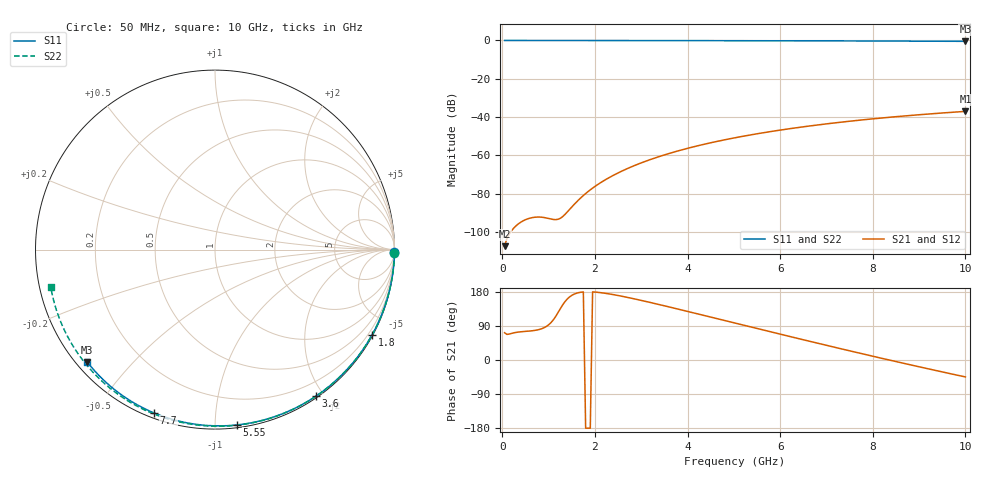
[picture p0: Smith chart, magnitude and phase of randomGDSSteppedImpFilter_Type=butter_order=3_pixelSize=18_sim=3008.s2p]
! freq	dB(S11)	phase(S11)	dB(S12)	phase(S12)
!  dB(S21)	phase(S21)	dB(S22)	phase(S22)
!S-par simulation data
#  GHz  S  DB  R 50
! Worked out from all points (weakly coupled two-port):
!   200 points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, 50 MHz to 10 GHz, reference 50 ohm
!   highest |S21| = -37.06 dB at 10 GHz (marker M1); lowest = -107.5 dB at 50 MHz (marker M2)
!   lowest |S11| = -0.5 dB at 10 GHz (marker M3), VSWR 37.36, Z = 1.53 - j18.8 ohm
!   |S11| at or under -10 dB: nowhere
!   |S22| runs from -0.5 to 0.0 dB; largest |S21 - S12| = 0
!   S11 on the Smith chart (normalised r, x): 50 MHz: open; 1.8 GHz: 0.03, -3.95; 3.6 GHz: 0.02, -1.90; 5.55 GHz: 0.02, -1.13; 7.7 GHz: 0.02, -0.69; 10 GHz: 0.03, -0.38
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0.05  -0.00 -0.8  -107.49 71.9  -107.49 71.9  -0.00 -1.0
0.45  -0.01 -7.2  -94.25 75.0  -94.25 75.0  -0.01 -8.7
0.85  -0.02 -13.6  -92.36 82.5  -92.36 82.5  -0.02 -16.3
1.3  -0.03 -20.6  -92.12 144.7  -92.12 144.7  -0.03 -24.8
1.75  -0.04 -27.6  -81.02 179.7  -81.02 179.7  -0.04 -33.3
1.8  -0.04 -28.4  -79.99 -180.0  -79.99 -180.0  -0.04 -34.2
1.95  -0.04 -30.7  -77.15 179.8  -77.15 179.8  -0.05 -37.0
2.1  -0.04 -33.0  -74.66 178.1  -74.66 178.1  -0.05 -39.7
2.45  -0.05 -38.4  -69.82 171.4  -69.82 171.4  -0.06 -46.1
2.65  -0.05 -41.4  -67.50 166.6  -67.50 166.6  -0.06 -49.7
2.9  -0.06 -45.1  -64.92 160.0  -64.92 160.0  -0.07 -54.2
3.4  -0.07 -52.6  -60.57 146.0  -60.57 146.0  -0.08 -63.0
3.6  -0.07 -55.5  -59.07 140.1  -59.07 140.1  -0.09 -66.4
4.3  -0.09 -65.5  -54.57 119.3  -54.57 119.3  -0.11 -78.3
5.05  -0.12 -76.0  -50.73 96.7  -50.73 96.7  -0.14 -90.6
5.55  -0.14 -82.8  -48.57 81.6  -48.57 81.6  -0.16 -98.6
6.1  -0.16 -90.1  -46.48 65.2  -46.48 65.2  -0.19 -107.2
6.7  -0.19 -97.9  -44.48 47.5  -44.48 47.5  -0.23 -116.5
7.7  -0.25 -110.5  -41.69 18.5  -41.69 18.5  -0.30 -131.6
8.35  -0.30 -118.6  -40.16 0.1  -40.16 0.1  -0.36 -141.5
9.2  -0.38 -129.0  -38.44 -23.4  -38.44 -23.4  -0.45 -154.5
10  -0.47 -138.7  -37.06 -44.7  -37.06 -44.7  -0.55 -167.1
